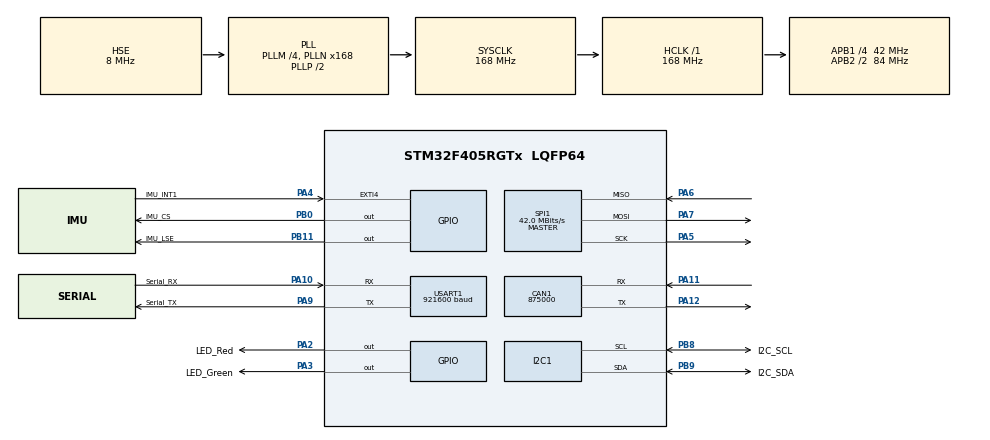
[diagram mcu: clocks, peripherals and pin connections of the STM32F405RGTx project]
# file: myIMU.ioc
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CAN1.CalculateBaudRate=875000
CAN1.CalculateTimeBit=1142
CAN1.CalculateTimeQuantum=380.95238095238096
Dma.Request0=SPI1_RX
Dma.Request1=SPI1_TX
Dma.Request2=USART1_RX
Dma.Request3=USART1_TX
Dma.SPI1_RX.0.Direction=DMA_PERIPH_TO_MEMORY
Dma.SPI1_RX.0.FIFOMode=DMA_FIFOMODE_DISABLE
Dma.SPI1_RX.0.Instance=DMA2_Stream0
Dma.SPI1_RX.0.MemDataAlignment=DMA_MDATAALIGN_BYTE
Dma.SPI1_RX.0.MemInc=DMA_MINC_ENABLE
Dma.SPI1_RX.0.Mode=DMA_NORMAL
Dma.SPI1_RX.0.PeriphDataAlignment=DMA_PDATAALIGN_BYTE
Dma.SPI1_RX.0.PeriphInc=DMA_PINC_DISABLE
Dma.SPI1_RX.0.Priority=DMA_PRIORITY_LOW
Dma.SPI1_TX.1.Direction=DMA_MEMORY_TO_PERIPH
Dma.SPI1_TX.1.FIFOMode=DMA_FIFOMODE_DISABLE
Dma.SPI1_TX.1.Instance=DMA2_Stream3
Dma.SPI1_TX.1.MemDataAlignment=DMA_MDATAALIGN_BYTE
Dma.SPI1_TX.1.MemInc=DMA_MINC_ENABLE
Dma.SPI1_TX.1.Mode=DMA_NORMAL
Dma.SPI1_TX.1.PeriphDataAlignment=DMA_PDATAALIGN_BYTE
Dma.SPI1_TX.1.PeriphInc=DMA_PINC_DISABLE
Dma.SPI1_TX.1.Priority=DMA_PRIORITY_LOW
Dma.USART1_RX.2.Direction=DMA_PERIPH_TO_MEMORY
Dma.USART1_RX.2.FIFOMode=DMA_FIFOMODE_DISABLE
Dma.USART1_RX.2.Instance=DMA2_Stream2
Dma.USART1_RX.2.MemDataAlignment=DMA_MDATAALIGN_BYTE
Dma.USART1_RX.2.MemInc=DMA_MINC_ENABLE
Dma.USART1_RX.2.Mode=DMA_NORMAL
Dma.USART1_RX.2.PeriphDataAlignment=DMA_PDATAALIGN_BYTE
Dma.USART1_RX.2.PeriphInc=DMA_PINC_DISABLE
Dma.USART1_RX.2.Priority=DMA_PRIORITY_MEDIUM
Dma.USART1_TX.3.Direction=DMA_MEMORY_TO_PERIPH
Dma.USART1_TX.3.FIFOMode=DMA_FIFOMODE_DISABLE
Dma.USART1_TX.3.Instance=DMA2_Stream7
Dma.USART1_TX.3.MemDataAlignment=DMA_MDATAALIGN_BYTE
Dma.USART1_TX.3.MemInc=DMA_MINC_ENABLE
Dma.USART1_TX.3.Mode=DMA_NORMAL
Dma.USART1_TX.3.PeriphDataAlignment=DMA_PDATAALIGN_BYTE
Dma.USART1_TX.3.PeriphInc=DMA_PINC_DISABLE
Dma.USART1_TX.3.Priority=DMA_PRIORITY_HIGH
FREERTOS.Queues01=imuQue,16,uint16_t,0,Dynamic,NULL,NULL
FREERTOS.Tasks01=imuTask,48,1024,StartImuTask,Default,NULL,Dynamic,NULL,NULL;insTask,40,1024,StartInsTask,Default,NULL,Dynamic,NULL,NULL;mavTask,32,1024,StartMavTask,Default,NULL,Dynamic,NULL,NULL
FREERTOS.configENABLE_FPU=1
FREERTOS.configUSE_NEWLIB_REENTRANT=1
I2C1.I2C_Mode=I2C_Fast
Mcu.Family=STM32F4
Mcu.Name=STM32F405RGTx
Mcu.Package=LQFP64
NVIC.DMA2_Stream0_IRQn=true\:5\:0\:false\:false\:true\:true\:false\:true\:true
NVIC.DMA2_Stream2_IRQn=true\:5\:0\:false\:false\:true\:true\:false\:true\:true
NVIC.DMA2_Stream3_IRQn=true\:5\:0\:false\:false\:true\:true\:false\:true\:true
NVIC.DMA2_Stream7_IRQn=true\:5\:0\:false\:false\:true\:true\:false\:true\:true
NVIC.EXTI4_IRQn=true\:5\:0\:false\:false\:true\:true\:true\:true\:true
NVIC.PriorityGroup=NVIC_PRIORITYGROUP_4
NVIC.TIM3_IRQn=true\:15\:0\:false\:false\:true\:false\:false\:true\:true
NVIC.TIM8_UP_TIM13_IRQn=true\:5\:0\:false\:false\:true\:true\:true\:true\:true
NVIC.TimeBase=TIM3_IRQn
NVIC.TimeBaseIP=TIM3
NVIC.USART1_IRQn=true\:5\:0\:false\:false\:true\:true\:true\:true\:true
PA10.GPIO_Label=Serial_RX
PA10.Mode=Asynchronous
PA10.Signal=USART1_RX
PA11.Mode=CAN_Activate
PA11.Signal=CAN1_RX
PA12.Mode=CAN_Activate
PA12.Signal=CAN1_TX
PA2.GPIO_Label=LED_Red
PA2.PinState=GPIO_PIN_SET
PA2.Signal=GPIO_Output
PA3.GPIO_Label=LED_Green
PA3.Signal=GPIO_Output
PA4.GPIO_Label=IMU_INT1
PA4.Signal=GPXTI4
PA5.Mode=Full_Duplex_Master
PA5.Signal=SPI1_SCK
PA6.Mode=Full_Duplex_Master
PA6.Signal=SPI1_MISO
PA7.Mode=Full_Duplex_Master
PA7.Signal=SPI1_MOSI
PA9.GPIO_Label=Serial_TX
PA9.Mode=Asynchronous
PA9.Signal=USART1_TX
PB0.GPIO_Label=IMU_CS
PB0.Signal=GPIO_Output
PB11.GPIO_Label=IMU_LSE
PB11.Signal=GPIO_Output
PB8.GPIO_Label=I2C_SCL
PB8.Mode=I2C
PB8.Signal=I2C1_SCL
PB9.GPIO_Label=I2C_SDA
PB9.Mode=I2C
PB9.Signal=I2C1_SDA
PH0-OSC_IN.Mode=HSE-External-Oscillator
PH0-OSC_IN.Signal=RCC_OSC_IN
PH1-OSC_OUT.Mode=HSE-External-Oscillator
PH1-OSC_OUT.Signal=RCC_OSC_OUT
ProjectManager.HeapSize=0x200
ProjectManager.StackSize=0x400
ProjectManager.TargetToolchain=STM32CubeIDE
RCC.48MHZClocksFreq_Value=84000000
RCC.AHBFreq_Value=168000000
RCC.APB1CLKDivider=RCC_HCLK_DIV4
RCC.APB1Freq_Value=42000000
RCC.APB1TimFreq_Value=84000000
RCC.APB2CLKDivider=RCC_HCLK_DIV2
RCC.APB2Freq_Value=84000000
RCC.APB2TimFreq_Value=168000000
RCC.CortexFreq_Value=168000000
RCC.HCLKFreq_Value=168000000
RCC.HSE_VALUE=8000000
RCC.HSI_VALUE=16000000
RCC.LSE_VALUE=32768
RCC.PLLM=4
RCC.PLLN=168
RCC.PLLSourceVirtual=RCC_PLLSOURCE_HSE
RCC.SYSCLKFreq_VALUE=168000000
RCC.SYSCLKSource=RCC_SYSCLKSOURCE_PLLCLK
RCC.VCOOutputFreq_Value=336000000
SPI1.CLKPhase=SPI_PHASE_2EDGE
SPI1.CLKPolarity=SPI_POLARITY_HIGH
SPI1.CalculateBaudRate=42.0 MBits/s
SPI1.Direction=SPI_DIRECTION_2LINES
SPI1.Mode=SPI_MODE_MASTER
SPI1.VirtualType=VM_MASTER
TIM1.Prescaler=167
TIM8.Period=999
TIM8.Prescaler=167
USART1.BaudRate=921600
USART1.VirtualMode=VM_ASYNC
VP_CRC_VS_CRC.Mode=CRC_Activate
VP_FREERTOS_VS_CMSIS_V2.Mode=CMSIS_V2
VP_SYS_VS_tim3.Mode=TIM3
VP_TIM1_VS_ClockSourceINT.Mode=Internal
VP_TIM8_VS_ClockSourceINT.Mode=Internal
board=custom

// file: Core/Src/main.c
/* USER CODE BEGIN Header */
/**
  ******************************************************************************
  * @file           : main.c
  * @brief          : Main program body
  ******************************************************************************
  * @attention
  *
  * Copyright (c) 2025 STMicroelectronics.
  * All rights reserved.
  *
  * This software is licensed under terms that can be found in the LICENSE file
  * in the root directory of this software component.
  * If no LICENSE file comes with this software, it is provided AS-IS.
  *
  ******************************************************************************
  */
/* USER CODE END Header */
#include "main.h"
#include "cmsis_os.h"

/* USER CODE BEGIN Includes */
#include "ICM42688P.h"
#include "ins_task.h"
#include "mav_task.h"
#include "queue.h"

/* USER CODE END Includes */

/* USER CODE BEGIN PTD */
extern FusionEuler euler;
extern ICM42688P_Data_t imudata;
/* USER CODE END PTD */

CAN_HandleTypeDef hcan1;

CRC_HandleTypeDef hcrc;

I2C_HandleTypeDef hi2c1;

SPI_HandleTypeDef hspi1;
DMA_HandleTypeDef hdma_spi1_rx;
DMA_HandleTypeDef hdma_spi1_tx;

TIM_HandleTypeDef htim1;
TIM_HandleTypeDef htim8;

UART_HandleTypeDef huart1;
DMA_HandleTypeDef hdma_usart1_rx;
DMA_HandleTypeDef hdma_usart1_tx;

/* Definitions for imuTask */
osThreadId_t imuTaskHandle;
const osThreadAttr_t imuTask_attributes = {
  .name = "imuTask",
  .stack_size = 1024 * 4,
  .priority = (osPriority_t) osPriorityRealtime,
};
/* Definitions for insTask */
osThreadId_t insTaskHandle;
const osThreadAttr_t insTask_attributes = {
  .name = "insTask",
  .stack_size = 1024 * 4,
  .priority = (osPriority_t) osPriorityHigh,
};
/* Definitions for mavTask */
osThreadId_t mavTaskHandle;
const osThreadAttr_t mavTask_attributes = {
  .name = "mavTask",
  .stack_size = 1024 * 4,
  .priority = (osPriority_t) osPriorityAboveNormal,
};
/* Definitions for imuQue */
osMessageQueueId_t imuQueHandle;
const osMessageQueueAttr_t imuQue_attributes = {
  .name = "imuQue"
};

void SystemClock_Config(void);
static void MX_GPIO_Init(void);
static void MX_DMA_Init(void);
static void MX_I2C1_Init(void);
static void MX_SPI1_Init(void);
static void MX_USART1_UART_Init(void);
static void MX_CAN1_Init(void);
static void MX_TIM8_Init(void);
static void MX_TIM1_Init(void);
static void MX_CRC_Init(void);
void StartImuTask(void *argument);
void StartInsTask(void *argument);
void StartMavTask(void *argument);

int main(void)
{

  /* MCU Configuration--------------------------------------------------------*/

  /* Reset of all peripherals, Initializes the Flash interface and the Systick. */
  HAL_Init();

  /* Configure the system clock */
  SystemClock_Config();

  /* Initialize all configured peripherals */
  MX_GPIO_Init();
  MX_DMA_Init();
  MX_I2C1_Init();
  MX_SPI1_Init();
  MX_USART1_UART_Init();
  MX_CAN1_Init();
  MX_TIM8_Init();
  MX_TIM1_Init();
  MX_CRC_Init();
  /* USER CODE BEGIN 2 */
  ICM42688P_Init();

  /* USER CODE END 2 */

  /* Init scheduler */
  osKernelInitialize();

  /* USER CODE BEGIN RTOS_TIMERS */
  /* start timers, add new ones, ... */
  HAL_TIM_Base_Start(&htim1);
  //HAL_TIM_Base_Start_IT(&htim8);
  /* USER CODE END RTOS_TIMERS */

  /* Create the queue(s) */
  /* creation of imuQue */
  imuQueHandle = osMessageQueueNew (16, sizeof(uint16_t), &imuQue_attributes);

  /* Create the thread(s) */
  /* creation of imuTask */
  imuTaskHandle = osThreadNew(StartImuTask, NULL, &imuTask_attributes);

  /* creation of insTask */
  insTaskHandle = osThreadNew(StartInsTask, NULL, &insTask_attributes);

  /* creation of mavTask */
  mavTaskHandle = osThreadNew(StartMavTask, NULL, &mavTask_attributes);

  /* Start scheduler */
  osKernelStart();

  /* We should never get here as control is now taken by the scheduler */

  /* Infinite loop */
  while (1)
  {

  }
}

void SystemClock_Config(void)
{
  RCC_OscInitTypeDef RCC_OscInitStruct = {0};
  RCC_ClkInitTypeDef RCC_ClkInitStruct = {0};

  /** Configure the main internal regulator output voltage
  */
  __HAL_RCC_PWR_CLK_ENABLE();
  __HAL_PWR_VOLTAGESCALING_CONFIG(PWR_REGULATOR_VOLTAGE_SCALE1);

  /** Initializes the RCC Oscillators according to the specified parameters
  * in the RCC_OscInitTypeDef structure.
  */
  RCC_OscInitStruct.OscillatorType = RCC_OSCILLATORTYPE_HSE;
  RCC_OscInitStruct.HSEState = RCC_HSE_ON;
  RCC_OscInitStruct.PLL.PLLState = RCC_PLL_ON;
  RCC_OscInitStruct.PLL.PLLSource = RCC_PLLSOURCE_HSE;
  RCC_OscInitStruct.PLL.PLLM = 4;
  RCC_OscInitStruct.PLL.PLLN = 168;
  RCC_OscInitStruct.PLL.PLLP = RCC_PLLP_DIV2;
  RCC_OscInitStruct.PLL.PLLQ = 4;
  if (HAL_RCC_OscConfig(&RCC_OscInitStruct) != HAL_OK)
  {
    Error_Handler();
  }

  /** Initializes the CPU, AHB and APB buses clocks
  */
  RCC_ClkInitStruct.ClockType = RCC_CLOCKTYPE_HCLK|RCC_CLOCKTYPE_SYSCLK
                              |RCC_CLOCKTYPE_PCLK1|RCC_CLOCKTYPE_PCLK2;
  RCC_ClkInitStruct.SYSCLKSource = RCC_SYSCLKSOURCE_PLLCLK;
  RCC_ClkInitStruct.AHBCLKDivider = RCC_SYSCLK_DIV1;
  RCC_ClkInitStruct.APB1CLKDivider = RCC_HCLK_DIV4;
  RCC_ClkInitStruct.APB2CLKDivider = RCC_HCLK_DIV2;

  if (HAL_RCC_ClockConfig(&RCC_ClkInitStruct, FLASH_LATENCY_5) != HAL_OK)
  {
    Error_Handler();
  }
}

static void MX_CAN1_Init(void)
{

  hcan1.Instance = CAN1;
  hcan1.Init.Prescaler = 16;
  hcan1.Init.Mode = CAN_MODE_NORMAL;
  hcan1.Init.SyncJumpWidth = CAN_SJW_1TQ;
  hcan1.Init.TimeSeg1 = CAN_BS1_1TQ;
  hcan1.Init.TimeSeg2 = CAN_BS2_1TQ;
  hcan1.Init.TimeTriggeredMode = DISABLE;
  hcan1.Init.AutoBusOff = DISABLE;
  hcan1.Init.AutoWakeUp = DISABLE;
  hcan1.Init.AutoRetransmission = DISABLE;
  hcan1.Init.ReceiveFifoLocked = DISABLE;
  hcan1.Init.TransmitFifoPriority = DISABLE;
  if (HAL_CAN_Init(&hcan1) != HAL_OK)
  {
    Error_Handler();
  }

}

static void MX_CRC_Init(void)
{

  hcrc.Instance = CRC;
  if (HAL_CRC_Init(&hcrc) != HAL_OK)
  {
    Error_Handler();
  }

}

static void MX_I2C1_Init(void)
{

  hi2c1.Instance = I2C1;
  hi2c1.Init.ClockSpeed = 400000;
  hi2c1.Init.DutyCycle = I2C_DUTYCYCLE_2;
  hi2c1.Init.OwnAddress1 = 0;
  hi2c1.Init.AddressingMode = I2C_ADDRESSINGMODE_7BIT;
  hi2c1.Init.DualAddressMode = I2C_DUALADDRESS_DISABLE;
  hi2c1.Init.OwnAddress2 = 0;
  hi2c1.Init.GeneralCallMode = I2C_GENERALCALL_DISABLE;
  hi2c1.Init.NoStretchMode = I2C_NOSTRETCH_DISABLE;
  if (HAL_I2C_Init(&hi2c1) != HAL_OK)
  {
    Error_Handler();
  }

}

static void MX_SPI1_Init(void)
{

  /* SPI1 parameter configuration*/
  hspi1.Instance = SPI1;
  hspi1.Init.Mode = SPI_MODE_MASTER;
  hspi1.Init.Direction = SPI_DIRECTION_2LINES;
  hspi1.Init.DataSize = SPI_DATASIZE_8BIT;
  hspi1.Init.CLKPolarity = SPI_POLARITY_HIGH;
  hspi1.Init.CLKPhase = SPI_PHASE_2EDGE;
  hspi1.Init.NSS = SPI_NSS_SOFT;
  hspi1.Init.BaudRatePrescaler = SPI_BAUDRATEPRESCALER_2;
  hspi1.Init.FirstBit = SPI_FIRSTBIT_MSB;
  hspi1.Init.TIMode = SPI_TIMODE_DISABLE;
  hspi1.Init.CRCCalculation = SPI_CRCCALCULATION_DISABLE;
  hspi1.Init.CRCPolynomial = 10;
  if (HAL_SPI_Init(&hspi1) != HAL_OK)
  {
    Error_Handler();
  }

}

static void MX_TIM1_Init(void)
{

  TIM_ClockConfigTypeDef sClockSourceConfig = {0};
  TIM_MasterConfigTypeDef sMasterConfig = {0};

  htim1.Instance = TIM1;
  htim1.Init.Prescaler = 167;
  htim1.Init.CounterMode = TIM_COUNTERMODE_UP;
  htim1.Init.Period = 65535;
  htim1.Init.ClockDivision = TIM_CLOCKDIVISION_DIV1;
  htim1.Init.RepetitionCounter = 0;
  htim1.Init.AutoReloadPreload = TIM_AUTORELOAD_PRELOAD_DISABLE;
  if (HAL_TIM_Base_Init(&htim1) != HAL_OK)
  {
    Error_Handler();
  }
  sClockSourceConfig.ClockSource = TIM_CLOCKSOURCE_INTERNAL;
  if (HAL_TIM_ConfigClockSource(&htim1, &sClockSourceConfig) != HAL_OK)
  {
    Error_Handler();
  }
  sMasterConfig.MasterOutputTrigger = TIM_TRGO_RESET;
  sMasterConfig.MasterSlaveMode = TIM_MASTERSLAVEMODE_DISABLE;
  if (HAL_TIMEx_MasterConfigSynchronization(&htim1, &sMasterConfig) != HAL_OK)
  {
    Error_Handler();
  }

}

static void MX_TIM8_Init(void)
{

  TIM_ClockConfigTypeDef sClockSourceConfig = {0};
  TIM_MasterConfigTypeDef sMasterConfig = {0};

  htim8.Instance = TIM8;
  htim8.Init.Prescaler = 167;
  htim8.Init.CounterMode = TIM_COUNTERMODE_UP;
  htim8.Init.Period = 999;
  htim8.Init.ClockDivision = TIM_CLOCKDIVISION_DIV1;
  htim8.Init.RepetitionCounter = 0;
  htim8.Init.AutoReloadPreload = TIM_AUTORELOAD_PRELOAD_DISABLE;
  if (HAL_TIM_Base_Init(&htim8) != HAL_OK)
  {
    Error_Handler();
  }
  sClockSourceConfig.ClockSource = TIM_CLOCKSOURCE_INTERNAL;
  if (HAL_TIM_ConfigClockSource(&htim8, &sClockSourceConfig) != HAL_OK)
  {
    Error_Handler();
  }
  sMasterConfig.MasterOutputTrigger = TIM_TRGO_RESET;
  sMasterConfig.MasterSlaveMode = TIM_MASTERSLAVEMODE_DISABLE;
  if (HAL_TIMEx_MasterConfigSynchronization(&htim8, &sMasterConfig) != HAL_OK)
  {
    Error_Handler();
  }

}

static void MX_USART1_UART_Init(void)
{

  huart1.Instance = USART1;
  huart1.Init.BaudRate = 921600;
  huart1.Init.WordLength = UART_WORDLENGTH_8B;
  huart1.Init.StopBits = UART_STOPBITS_1;
  huart1.Init.Parity = UART_PARITY_NONE;
  huart1.Init.Mode = UART_MODE_TX_RX;
  huart1.Init.HwFlowCtl = UART_HWCONTROL_NONE;
  huart1.Init.OverSampling = UART_OVERSAMPLING_16;
  if (HAL_UART_Init(&huart1) != HAL_OK)
  {
    Error_Handler();
  }

}

static void MX_DMA_Init(void)
{

  /* DMA controller clock enable */
  __HAL_RCC_DMA2_CLK_ENABLE();

  /* DMA interrupt init */
  /* DMA2_Stream0_IRQn interrupt configuration */
  HAL_NVIC_SetPriority(DMA2_Stream0_IRQn, 5, 0);
  HAL_NVIC_EnableIRQ(DMA2_Stream0_IRQn);
  /* DMA2_Stream2_IRQn interrupt configuration */
  HAL_NVIC_SetPriority(DMA2_Stream2_IRQn, 5, 0);
  HAL_NVIC_EnableIRQ(DMA2_Stream2_IRQn);
  /* DMA2_Stream3_IRQn interrupt configuration */
  HAL_NVIC_SetPriority(DMA2_Stream3_IRQn, 5, 0);
  HAL_NVIC_EnableIRQ(DMA2_Stream3_IRQn);
  /* DMA2_Stream7_IRQn interrupt configuration */
  HAL_NVIC_SetPriority(DMA2_Stream7_IRQn, 5, 0);
  HAL_NVIC_EnableIRQ(DMA2_Stream7_IRQn);

}

static void MX_GPIO_Init(void)
{
  GPIO_InitTypeDef GPIO_InitStruct = {0};

  /* GPIO Ports Clock Enable */
  __HAL_RCC_GPIOH_CLK_ENABLE();
  __HAL_RCC_GPIOA_CLK_ENABLE();
  __HAL_RCC_GPIOB_CLK_ENABLE();

  /*Configure GPIO pin Output Level */
  HAL_GPIO_WritePin(LED_Red_GPIO_Port, LED_Red_Pin, GPIO_PIN_SET);

  /*Configure GPIO pin Output Level */
  HAL_GPIO_WritePin(LED_Green_GPIO_Port, LED_Green_Pin, GPIO_PIN_RESET);

  /*Configure GPIO pin Output Level */
  HAL_GPIO_WritePin(GPIOB, IMU_CS_Pin|IMU_LSE_Pin, GPIO_PIN_RESET);

  /*Configure GPIO pins : LED_Red_Pin LED_Green_Pin */
  GPIO_InitStruct.Pin = LED_Red_Pin|LED_Green_Pin;
  GPIO_InitStruct.Mode = GPIO_MODE_OUTPUT_PP;
  GPIO_InitStruct.Pull = GPIO_NOPULL;
  GPIO_InitStruct.Speed = GPIO_SPEED_FREQ_LOW;
  HAL_GPIO_Init(GPIOA, &GPIO_InitStruct);

  /*Configure GPIO pin : IMU_INT1_Pin */
  GPIO_InitStruct.Pin = IMU_INT1_Pin;
  GPIO_InitStruct.Mode = GPIO_MODE_IT_RISING;
  GPIO_InitStruct.Pull = GPIO_NOPULL;
  HAL_GPIO_Init(IMU_INT1_GPIO_Port, &GPIO_InitStruct);

  /*Configure GPIO pins : IMU_CS_Pin IMU_LSE_Pin */
  GPIO_InitStruct.Pin = IMU_CS_Pin|IMU_LSE_Pin;
  GPIO_InitStruct.Mode = GPIO_MODE_OUTPUT_PP;
  GPIO_InitStruct.Pull = GPIO_NOPULL;
  GPIO_InitStruct.Speed = GPIO_SPEED_FREQ_LOW;
  HAL_GPIO_Init(GPIOB, &GPIO_InitStruct);

  /* EXTI interrupt init*/
  HAL_NVIC_SetPriority(EXTI4_IRQn, 5, 0);
  HAL_NVIC_EnableIRQ(EXTI4_IRQn);

}

/* USER CODE BEGIN 4 */
void HAL_SPI_TxRxCpltCallback(SPI_HandleTypeDef *hspi) {
  if (hspi->Instance == SPI1) {
    //BaseType_t xHigherPriorityTaskWoken = pdFALSE;
    Icm_CS_HIGH();
    ICM42688P_decode(&imudata);
    BaseType_t xHigherPriorityTaskWoken = pdFALSE;

    if(insTaskHandle != NULL){
        vTaskNotifyGiveFromISR(insTaskHandle, &xHigherPriorityTaskWoken);
        portYIELD_FROM_ISR(xHigherPriorityTaskWoken);
    }

    // releasing the semaphore
    //xSemaphoreGiveFromISR(xImuDataReadySemaphore, &xHigherPriorityTaskWoken);
    //portYIELD_FROM_ISR(xHigherPriorityTaskWoken);
  }
}
// when HAL_GPIO_EXTI_IRQHandler() detects an interrupt on the specified pin,
// it calls this callback function.
void HAL_GPIO_EXTI_Callback(uint16_t GPIO_Pin)
{
    BaseType_t xHigherPriorityTaskWoken = pdFALSE;

    if (GPIO_Pin == GPIO_PIN_4) // PB0 = INT1
    {
        if(imuTaskHandle != NULL){
        	vTaskNotifyGiveFromISR(imuTaskHandle, &xHigherPriorityTaskWoken);
            portYIELD_FROM_ISR(xHigherPriorityTaskWoken);
        }

    }
}
/* USER CODE END 4 */

void StartImuTask(void *argument)
{
  /* USER CODE BEGIN 5 */
	  /* Infinite loop */
		for (;;) {
			// --- 1. waiting for notification---
		    // ulTaskNotifyTake(pdTRUE, portMAX_DELAY) will block the task，
		    // untile woke up by vTaskNotifyGiveFromISR()。
		    // pdTRUE means the notification value will be cleared to 0 upon exit.
        // portMAX_DELAY means wait indefinitely.
			ulTaskNotifyTake(pdTRUE, portMAX_DELAY);
	        // --- 2. received notification and then read dma---
			ICM42688P_read_dma();
		}
  /* USER CODE END 5 */
}

void StartInsTask(void *argument)
{
  /* USER CODE BEGIN StartInsTask */
	InitializePose();
	/* Infinite loop */
	for(;;){
		ulTaskNotifyTake(pdTRUE, portMAX_DELAY);
		// Atomic copy of shared imudata to local structure
        ICM42688P_Data_t local_imu;
        taskENTER_CRITICAL();
        local_imu = imudata;
        taskEXIT_CRITICAL();

        // Use the local copy for pose calculation
        GetPose(&local_imu);

        // Atomically copy euler before sending
        FusionEuler local_euler;
        taskENTER_CRITICAL();
        local_euler = euler;
        taskEXIT_CRITICAL();

        xQueueSend(imuQueHandle, &local_euler.angle, 0);
	}
  /* USER CODE END StartInsTask */
}

void StartMavTask(void *argument)
{
  /* USER CODE BEGIN StartMavTask */
	mavlinkTask(argument);
  /* USER CODE END StartMavTask */
}

void HAL_TIM_PeriodElapsedCallback(TIM_HandleTypeDef *htim)
{
  if (htim->Instance == TIM3)
  {
    HAL_IncTick();
  }
}

void Error_Handler(void)
{
  __disable_irq();
  while (1)
  {
  }
}
